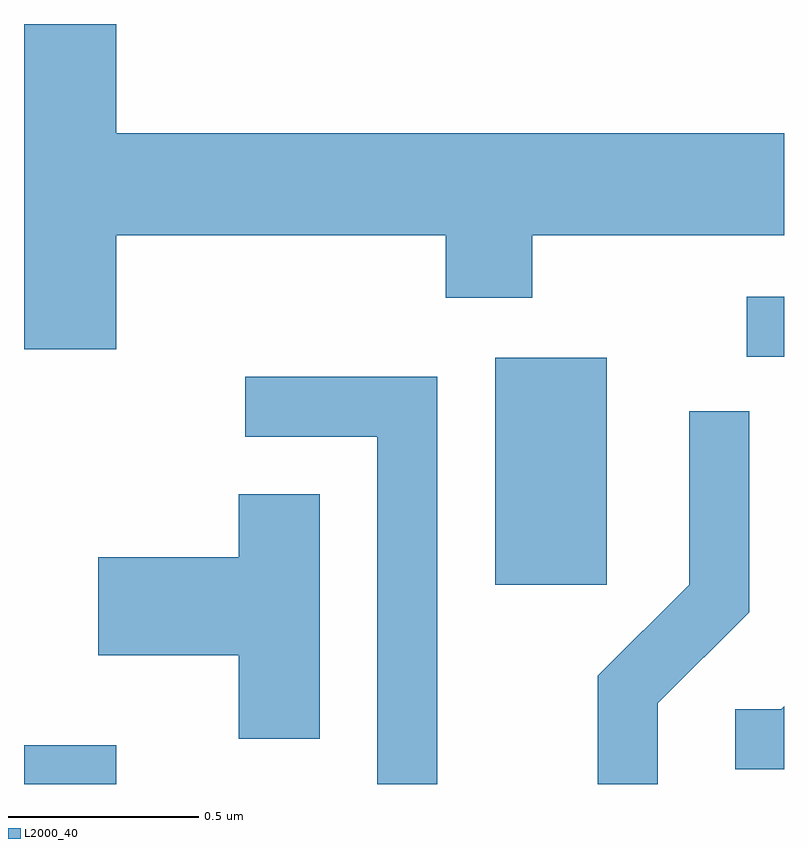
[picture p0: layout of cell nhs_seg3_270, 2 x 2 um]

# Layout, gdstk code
import gdstk
lib = gdstk.Library(unit=1e-6, precision=1e-09)
def R(c, l, rs):  # rectangles x0, y0, x1, y1
    for r in rs: c.add(gdstk.rectangle(r[:2], r[2:], *l))
def P(c, l, *ps):  # polygons
    for p in ps: c.add(gdstk.Polygon(p, *l))
L2000_40 = (2000, 40)

nhs_seg3_270 = lib.new_cell('nhs_seg3_270')
R(nhs_seg3_270, L2000_40, [(186.611,1248.892,186.854,1248.994), (187.851,1249.416,188.144,1250.014), (188.513,1250.016,188.611,1250.174)])
P(nhs_seg3_270, L2000_40, [(186.854,1250.336),(187.721,1250.336),(187.721,1250.171),(187.949,1250.171),(187.949,1250.336),(188.611,1250.336),(188.611,1250.604),(186.854,1250.604),(186.854,1250.892),(186.611,1250.892),(186.611,1250.036),(186.854,1250.036)],
  [(187.699,1249.964),(187.193,1249.964),(187.193,1249.806),(187.541,1249.806),(187.541,1248.892),(187.699,1248.892)],
  [(188.279,1249.104),(188.519,1249.344),(188.519,1249.873),(188.361,1249.873),(188.361,1249.417),(188.121,1249.177),(188.121,1248.892),(188.279,1248.892)],
  [(187.389,1249.654),(187.176,1249.654),(187.176,1249.489),(186.806,1249.489),(186.806,1249.231),(187.176,1249.231),(187.176,1249.011),(187.389,1249.011)],
  [(188.611,1249.096),(188.604,1249.089),(188.483,1249.089),(188.483,1248.931),(188.611,1248.931)])

lib.write_gds('nhs_seg3_270.gds')
